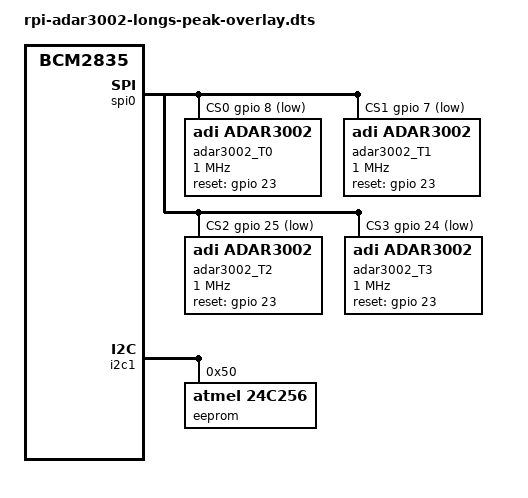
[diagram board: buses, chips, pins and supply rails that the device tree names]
// SPDX-License-Identifier: GPL-2.0
/dts-v1/;
/plugin/;

/ {
	compatible = "brcm,bcm2836", "brcm,bcm2835";

	fragment@0 {
		target = <&spidev0>;
		__overlay__ {
			status = "disabled";
		};
	};

	fragment@1 {
		target = <&spidev1>;
		__overlay__ {
			status = "disabled";
		};
	};

	fragment@2 {
		target = <&spi0_cs_pins>;
		frag0: __overlay__ {
				brcm,pins = <8 7 25 24>;
				brcm,function = <1>; //output
		};
	};

	fragment@3 {
		target = <&spi0>;
		frag1: __overlay__ {
			#address-cells = <1>;
			#size-cells = <0>;

			cs-gpios = <&gpio 8 1>, <&gpio 7 1>, <&gpio 25 1>, <&gpio 24 1>;
			status = "okay";

			adar3002_csb_0@0 {
				compatible = "adi,adar3002";
				reg = <0>;
				spi-max-frequency = <1000000>;
				label = "adar3002_T0";
				#address-cells = <1>;
				#size-cells = <0>;
				reset-gpios = <&gpio 23 0>;

				adar3002_csb_0_0@0 {
					reg = <0>;
					label = "adar3002_U1E";
				};
				adar3002_csb_0_1@1 {
					reg = <1>;
					label = "adar3002_U2E";
				};
				adar3002_csb_0_2@2 {
					reg = <2>;
					label = "adar3002_U3E";
				};
				adar3002_csb_0_3@3 {
					reg = <3>;
					label = "adar3002_U4E";
				};

				adar3002_csb_0_4@4 {
					reg = <4>;
					label = "adar3002_U1F";
				};
				adar3002_csb_0_5@5 {
					reg = <5>;
					label = "adar3002_U2F";
				};
				adar3002_csb_0_6@6 {
					reg = <6>;
					label = "adar3002_U3F";
				};
				adar3002_csb_0_7@7 {
					reg = <7>;
					label = "adar3002_U4F";
				};

				adar3002_csb_0_8@8 {
					reg = <8>;
					label = "adar3002_U1G";
				};
				adar3002_csb_0_9@9 {
					reg = <9>;
					label = "adar3002_U2G";
				};
				adar3002_csb_0_10@10 {
					reg = <10>;
					label = "adar3002_U3G";
				};
				adar3002_csb_0_11@11 {
					reg = <11>;
					label = "adar3002_U4G";
				};

				adar3002_csb_0_12@12 {
					reg = <12>;
					label = "adar3002_U1H";
				};
				adar3002_csb_0_13@13 {
					reg = <13>;
					label = "adar3002_U2H";
				};
				adar3002_csb_0_14@14 {
					reg = <14>;
					label = "adar3002_U3H";
				};
				adar3002_csb_0_15@15 {
					reg = <15>;
					label = "adar3002_U4H";
				};
			};

			adar3002_csb_1@1 {
				compatible = "adi,adar3002";
				reg = <1>;
				spi-max-frequency = <1000000>;
				label = "adar3002_T1";
				#address-cells = <1>;
				#size-cells = <0>;
				reset-gpios = <&gpio 23 0>;

				adar3002_csb_1_0@0 {
					reg = <0>;
					label = "adar3002_U1E";
				};
				adar3002_csb_1_1@1 {
					reg = <1>;
					label = "adar3002_U2E";
				};
				adar3002_csb_1_2@2 {
					reg = <2>;
					label = "adar3002_U3E";
				};
				adar3002_csb_1_3@3 {
					reg = <3>;
					label = "adar3002_U4E";
				};

				adar3002_csb_1_4@4 {
					reg = <4>;
					label = "adar3002_U1F";
				};
				adar3002_csb_1_5@5 {
					reg = <5>;
					label = "adar3002_U2F";
				};
				adar3002_csb_1_6@6 {
					reg = <6>;
					label = "adar3002_U3F";
				};
				adar3002_csb_1_7@7 {
					reg = <7>;
					label = "adar3002_U4F";
				};

				adar3002_csb_1_8@8 {
					reg = <8>;
					label = "adar3002_U1G";
				};
				adar3002_csb_1_9@9 {
					reg = <9>;
					label = "adar3002_U2G";
				};
				adar3002_csb_1_10@10 {
					reg = <10>;
					label = "adar3002_U3G";
				};
				adar3002_csb_1_11@11 {
					reg = <11>;
					label = "adar3002_U4G";
				};

				adar3002_csb_1_12@12 {
					reg = <12>;
					label = "adar3002_U1H";
				};
				adar3002_csb_1_13@13 {
					reg = <13>;
					label = "adar3002_U2H";
				};
				adar3002_csb_1_14@14 {
					reg = <14>;
					label = "adar3002_U3H";
				};
				adar3002_csb_1_15@15 {
					reg = <15>;
					label = "adar3002_U4H";
				};
			};

			adar3002_csb_2@2 {
				compatible = "adi,adar3002";
				reg = <2>;
				spi-max-frequency = <1000000>;
				label = "adar3002_T2";
				#address-cells = <1>;
				#size-cells = <0>;
				reset-gpios = <&gpio 23 0>;

				adar3002_csb_2_0@0 {
					reg = <0>;
					label = "adar3002_U1E";
				};
				adar3002_csb_2_1@1 {
					reg = <1>;
					label = "adar3002_U2E";
				};
				adar3002_csb_2_2@2 {
					reg = <2>;
					label = "adar3002_U3E";
				};
				adar3002_csb_2_3@3 {
					reg = <3>;
					label = "adar3002_U4E";
				};

				adar3002_csb_2_4@4 {
					reg = <4>;
					label = "adar3002_U1F";
				};
				adar3002_csb_2_5@5 {
					reg = <5>;
					label = "adar3002_U2F";
				};
				adar3002_csb_2_6@6 {
					reg = <6>;
					label = "adar3002_U3F";
				};
				adar3002_csb_2_7@7 {
					reg = <7>;
					label = "adar3002_U4F";
				};

				adar3002_csb_2_8@8 {
					reg = <8>;
					label = "adar3002_U1G";
				};
				adar3002_csb_2_9@9 {
					reg = <9>;
					label = "adar3002_U2G";
				};
				adar3002_csb_2_10@10 {
					reg = <10>;
					label = "adar3002_U3G";
				};
				adar3002_csb_2_11@11 {
					reg = <11>;
					label = "adar3002_U4G";
				};

				adar3002_csb_2_12@12 {
					reg = <12>;
					label = "adar3002_U1H";
				};
				adar3002_csb_2_13@13 {
					reg = <13>;
					label = "adar3002_U2H";
				};
				adar3002_csb_2_14@14 {
					reg = <14>;
					label = "adar3002_U3H";
				};
				adar3002_csb_2_15@15 {
					reg = <15>;
					label = "adar3002_U4H";
				};
			};

			adar3002_csb_3@3 {
				compatible = "adi,adar3002";
				reg = <3>;
				spi-max-frequency = <1000000>;
				label = "adar3002_T3";
				#address-cells = <1>;
				#size-cells = <0>;
				reset-gpios = <&gpio 23 0>;

				adar3002_csb_3_0@0 {
					reg = <0>;
					label = "adar3002_U1E";
				};
				adar3002_csb_3_1@1 {
					reg = <1>;
					label = "adar3002_U2E";
				};
				adar3002_csb_3_2@2 {
					reg = <2>;
					label = "adar3002_U3E";
				};
				adar3002_csb_3_3@3 {
					reg = <3>;
					label = "adar3002_U4E";
				};

				adar3002_csb_3_4@4 {
					reg = <4>;
					label = "adar3002_U1F";
				};
				adar3002_csb_3_5@5 {
					reg = <5>;
					label = "adar3002_U2F";
				};
				adar3002_csb_3_6@6 {
					reg = <6>;
					label = "adar3002_U3F";
				};
				adar3002_csb_3_7@7 {
					reg = <7>;
					label = "adar3002_U4F";
				};

				adar3002_csb_3_8@8 {
					reg = <8>;
					label = "adar3002_U1G";
				};
				adar3002_csb_3_9@9 {
					reg = <9>;
					label = "adar3002_U2G";
				};
				adar3002_csb_3_10@10 {
					reg = <10>;
					label = "adar3002_U3G";
				};
				adar3002_csb_3_11@11 {
					reg = <11>;
					label = "adar3002_U4G";
				};

				adar3002_csb_3_12@12 {
					reg = <12>;
					label = "adar3002_U1H";
				};
				adar3002_csb_3_13@13 {
					reg = <13>;
					label = "adar3002_U2H";
				};
				adar3002_csb_3_14@14 {
					reg = <14>;
					label = "adar3002_U3H";
				};
				adar3002_csb_3_15@15 {
					reg = <15>;
					label = "adar3002_U4H";
				};
			};
		};
	};

	fragment@4 {
		target = <&i2c1>;
		__overlay__ {
			#address-cells = <1>;
			#size-cells = <0>;
			status = "okay";

			eeprom@50 {
				compatible = "atmel,24c256";
				reg = <0x50>;
			};
		};
	};
};
